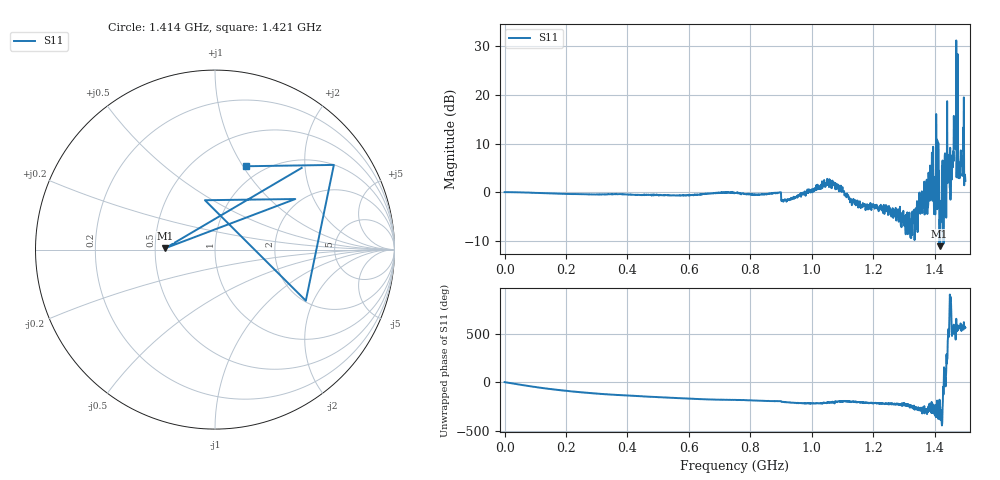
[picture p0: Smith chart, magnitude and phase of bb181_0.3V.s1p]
# Hz S RI R 50
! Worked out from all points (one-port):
!   1515 points, 50 kHz to 1.5 GHz, reference 50 ohm
!   lowest |S11| = -11.1 dB at 1.416 GHz (marker M1), VSWR 1.77, Z = 28.3 + j0.452 ohm
!   |S11| at or under -10 dB: 1.41564 GHz to 1.415986 GHz (346 kHz wide, 0.0244 % of centre); 1.417583 GHz to 1.417931 GHz (348.1 kHz wide, 0.0245 % of centre); 1.428447 GHz to 1.429698 GHz (1.251 MHz wide, 0.0875 % of centre)
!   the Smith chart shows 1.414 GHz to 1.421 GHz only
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50000  0.9992 0.000344
1.882866e8  0.0589 -0.9577
3.755325e8  -0.6721 -0.6791
5.627784e8  -0.8933 -0.2334
7.500243e8  -0.9806 0.0713
9.382609e8  -0.7144 0.4669
1.125507e9  -0.7506 0.3596
1.312753e9  -0.2338 0.2864
1.401917e9  -0.3283 0.4898
1.415787e9  -0.2778 0.00739
1.417769e9  -0.0561 0.2751
1.43263e9  -1.626 1.69
1.434611e9  1.465 1.291
1.442537e9  0.5594 1.114
1.449472e9  -1.094 -0.0902
1.461361e9  -1.761 -1.107
1.462351e9  -3.628 -4.878
1.463342e9  -3.009 2.945
1.467305e9  -3.079 -0.4678
1.468296e9  0.4824 2.716
1.470277e9  14.99 -33.08
1.476221e9  -1.736 0.00784
1.477212e9  -1.392 -0.061
1.478203e9  -1.483 -1.386
1.482166e9  -1.864 -0.7014
1.483156e9  -1.707 -1.005
1.48811e9  -1.886 -0.6357
1.499999e9  -1.212 -0.4861
